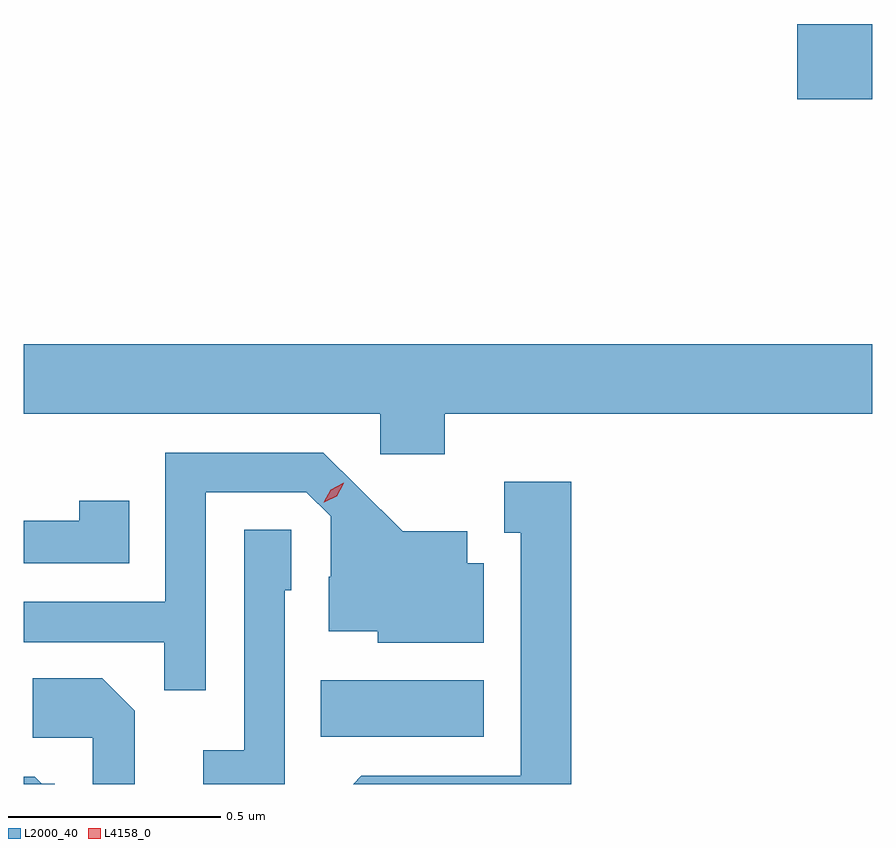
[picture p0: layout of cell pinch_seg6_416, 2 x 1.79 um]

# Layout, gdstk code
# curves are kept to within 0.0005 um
import gdstk
lib = gdstk.Library(unit=1e-6, precision=1e-09)
def R(c, l, rs):  # rectangles x0, y0, x1, y1
    for r in rs: c.add(gdstk.rectangle(r[:2], r[2:], *l))
def P(c, l, *ps):  # polygons
    for p in ps: c.add(gdstk.Polygon(p, *l))
L2000_40 = (2000, 40)
L4158_0 = (4158, 0)

pinch_seg6_416 = lib.new_cell('pinch_seg6_416')
R(pinch_seg6_416, L2000_40, [(665.506,923.93,665.89,924.064), (666.63,925.433,666.806,925.611)])
P(pinch_seg6_416, L2000_40, [(665.798,924.692),(666.806,924.692),(666.806,924.856),(664.806,924.856),(664.806,924.692),(665.646,924.692),(665.646,924.597),(665.798,924.597)],
  [(665.235,924.507),(665.472,924.507),(665.529,924.45),(665.529,924.308),(665.525,924.308),(665.525,924.179),(665.64,924.179),(665.64,924.152),(665.89,924.152),(665.89,924.339),(665.851,924.339),(665.851,924.415),(665.699,924.415),(665.512,924.6),(665.139,924.6),(665.139,924.249),(664.806,924.249),(664.806,924.153),(665.137,924.153),(665.137,924.04),(665.235,924.04)],
  [(666.097,924.532),(665.939,924.532),(665.939,924.411),(665.978,924.411),(665.978,923.838),(665.601,923.838),(665.582,923.819),(666.097,923.819)],
  [(665.054,924.487),(664.936,924.487),(664.936,924.44),(664.806,924.44),(664.806,924.339),(665.054,924.339)],
  [(665.421,924.276),(665.436,924.276),(665.436,924.419),(665.325,924.419),(665.325,923.899),(665.229,923.899),(665.229,923.819),(665.421,923.819)],
  [(665.067,923.992),(664.991,924.068),(664.827,924.068),(664.827,923.928),(664.968,923.928),(664.968,923.819),(665.067,923.819)],
  [(664.879,923.82),(664.848,923.82),(664.832,923.836),(664.806,923.836),(664.806,923.819),(664.879,923.819)])
P(pinch_seg6_416, L4158_0, [(665.513,924.483),(665.513,924.483),(665.529,924.513),(665.56,924.529),(665.56,924.529),(665.56,924.528),(665.544,924.498),(665.514,924.483)])

lib.write_gds('pinch_seg6_416.gds')
